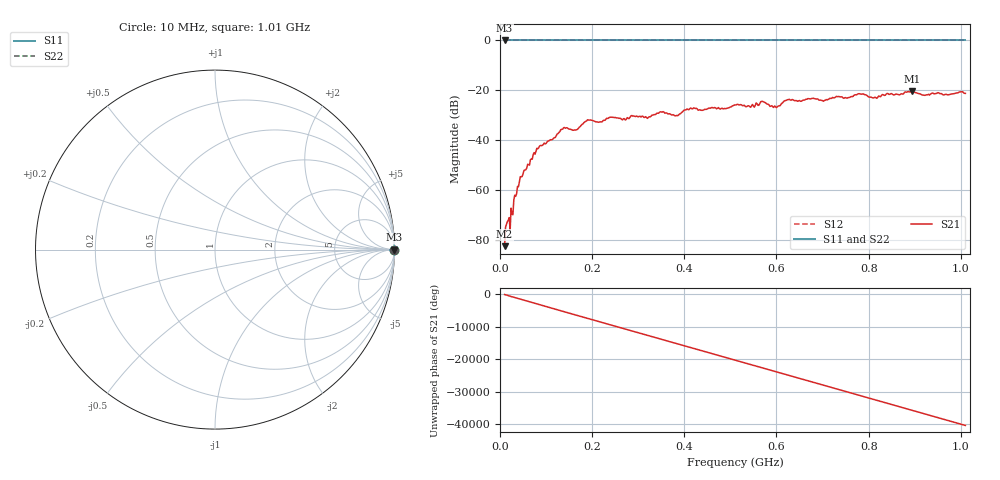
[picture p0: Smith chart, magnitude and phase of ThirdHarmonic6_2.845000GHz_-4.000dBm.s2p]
! 8/17/2025 7:39:50 AM
! C:\ANRITSUVNA\TEMP\TEMP.S2P
! CHANNEL.1
! TR.MEASUREMENT
! RAW.DATA
! RF.CORRECTION.OFF
! AVERAGING.OFF
! IF.BANDWIDTH: 5KHZ
! SWEEPTYPE:  FREQ.SWEEP(Linear)
! Reference Plane Port Info
! PORT:  PORT1  PORT2
! DISTANCE:  0  m  0  m
! TIME:  0  s  0  s
! PHASE.OFFSET:  0  deg.  0  deg.
! LOSS:  0  dB  0  dB
! REF.LOSS:  0  dB  0  dB
! REF.FREQ:  0  Hz  0  Hz
! Power Info
! POWER:  -20  dBm  -20  dBm
! EFF.POWER:  -20  dBm  -20  dBm
! SOURCE.ATTEN:  0  dB  0  dB
! TEST.ATTEN:  0  dB  0  dB
# GHZ S RI R 50.0
! FREQ.GHZ  S11RE  S11IM  S21RE  S21IM  S12RE  S12IM  S22RE  S22IM
!; PortSelection: Port_12
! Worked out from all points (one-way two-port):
!   501 points, 10 MHz to 1.01 GHz, reference 50 ohm
!   highest |S21| = -20.49 dB at 894 MHz (marker M1); lowest = -82.6 dB at 10 MHz (marker M2)
!   lowest |S11| = 0.0 dB at 10 MHz (marker M3)
!   |S11| at or under -10 dB: nowhere
!   |S22| runs from 0.0 to 0.0 dB; largest |S21 - S12| = 1.1
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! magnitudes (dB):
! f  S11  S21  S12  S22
! 10 MHz  0.0  -82.6  0.0  0.0
! 16 MHz  0.0  -72.7  0.0  0.0
! 24 MHz  0.0  -67.3  0.0  0.0
! 42 MHz  0.0  -56.9  0.0  0.0
! 76 MHz  0.0  -45.7  0.0  0.0
! 136 MHz  0.0  -35.6  0.0  0.0
! 164 MHz  0.0  -35.9  0.0  0.0
! 178 MHz  0.0  -33.7  0.0  0.0
! 192 MHz  0.0  -31.9  0.0  0.0
! 322 MHz  0.0  -30.9  0.0  0.0
! 344 MHz  0.0  -29.2  0.0  0.0
! 382 MHz  0.0  -30.2  0.0  0.0
! 416 MHz  0.0  -27.4  0.0  0.0
! 510 MHz  0.0  -25.9  0.0  0.0
! 548 MHz  0.0  -25.7  0.0  0.0
! 570 MHz  0.0  -24.5  0.0  0.0
! 598 MHz  0.0  -26.6  0.0  0.0
! 624 MHz  0.0  -23.8  0.0  0.0
! 678 MHz  0.0  -23.2  0.0  0.0
! 844 MHz  0.0  -21.7  0.0  0.0
! 894 MHz  0.0  -20.5  0.0  0.0
! 1.01 GHz  0.0  -21.3  0.0  0.0
